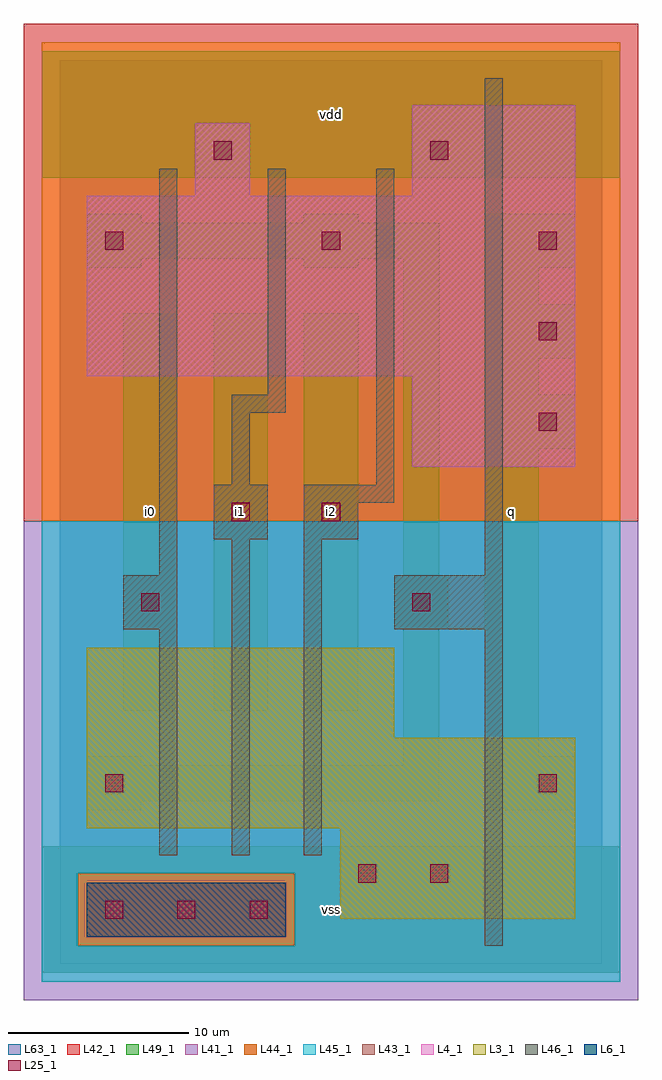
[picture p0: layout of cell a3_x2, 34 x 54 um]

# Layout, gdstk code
import gdstk
lib = gdstk.Library(unit=1e-6, precision=1e-09)
def R(c, l, rs):  # rectangles x0, y0, x1, y1
    for r in rs: c.add(gdstk.rectangle(r[:2], r[2:], *l))
def A(c, l, x, y, w, h, nx, ny, dx, dy):  # array of equal rectangles
    R(c, l, [(x+i*dx, y+j*dy, x+i*dx+w, y+j*dy+h) for i in range(nx) for j in range(ny)])
L3_1 = (3, 1)
L4_1 = (4, 1)
L6_1 = (6, 1)
L25_1 = (25, 1)
L41_1 = (41, 1)
L42_1 = (42, 1)
L43_1 = (43, 1)
L44_1 = (44, 1)
L45_1 = (45, 1)
L46_1 = (46, 1)
L49_1 = (49, 1)
L63_1 = (63, 1)

a3_x2 = lib.new_cell('a3_x2')
R(a3_x2, L3_1, [(15.5,2.5,28.5,7.5), (1.5,7.5,28.5,12.5), (1.5,12.5,18.5,17.5)])
R(a3_x2, L4_1, [(19.5,27.5,28.5,32.5), (1.5,32.5,28.5,42.5), (7.5,42.5,10.5,46.5), (19.5,42.5,28.5,47.5)])
R(a3_x2, L6_1, [(1.5,1.5,12.5,4.5)])
A(a3_x2, L25_1, 2.5, 2.5, 1, 1, 3, 1, 4, 0)
A(a3_x2, L25_1, 2.5, 39.5, 1, 1, 3, 1, 12, 0)
R(a3_x2, L25_1, [(16.5,4.5,17.5,5.5), (20.5,4.5,21.5,5.5), (2.5,9.5,3.5,10.5), (26.5,9.5,27.5,10.5), (4.5,19.5,5.5,20.5), (19.5,19.5,20.5,20.5), (9.5,24.5,10.5,25.5), (14.5,24.5,15.5,25.5), (26.5,29.5,27.5,30.5), (26.5,34.5,27.5,35.5), (8.5,44.5,9.5,45.5), (20.5,44.5,21.5,45.5)])
R(a3_x2, L41_1, [(-2,-2,32,24.5)])
R(a3_x2, L42_1, [(-2,24.5,32,52)])
R(a3_x2, L43_1, [(1.5,1.5,12.5,4.5), (15.5,2.5,28.5,7.5), (1.5,7.5,28.5,12.5), (1.5,12.5,18.5,17.5), (19.5,27.5,28.5,32.5), (1.5,32.5,28.5,42.5), (7.5,42.5,10.5,46.5), (19.5,42.5,28.5,47.5)])
R(a3_x2, L44_1, [(1,1,13,5), (-1,24.5,31,51)])
R(a3_x2, L45_1, [(-1,-1,31,1), (-1,1,1,5), (13,1,31,5), (-1,5,31,24.5)])
R(a3_x2, L46_1, [(23.5,1,24.5,18.5), (5.5,6,6.5,18.5), (9.5,6,10.5,23.5), (13.5,6,14.5,23.5), (3.5,18.5,6.5,21.5), (18.5,18.5,24.5,21.5), (5.5,21.5,6.5,44), (23.5,21.5,24.5,49), (8.5,23.5,11.5,26.5), (13.5,23.5,16.5,25.5), (13.5,25.5,18.5,26.5), (9.5,26.5,10.5,30.5), (17.5,26.5,18.5,44), (9.5,30.5,12.5,31.5), (11.5,31.5,12.5,44)])
A(a3_x2, L49_1, 3.5, 14, 3, 22, 3, 1, 5, 0)
A(a3_x2, L49_1, 23.5, 28.5, 5, 3, 1, 3, 0, 5)
R(a3_x2, L49_1, [(-1,-0.5,31,6.5), (1.5,8.5,4.5,9), (23.5,8.5,28.5,11.5), (1.5,9,21,11), (1.5,11,4.5,11.5), (19,11,21,18.5), (23.5,11.5,26.5,28.5), (18.5,18.5,21.5,21.5), (19,21.5,21,39), (23.5,31.5,26.5,33.5), (23.5,36.5,26.5,38.5), (1.5,38.5,4.5,39), (13.5,38.5,16.5,39), (1.5,39,21,41), (1.5,41,4.5,41.5), (13.5,41,16.5,41.5), (-1,43.5,31,50.5)])
R(a3_x2, L63_1, [(0,0,30,50)])
a3_x2.add(gdstk.Label('i0', (5,25), layer=49, texttype=1))
a3_x2.add(gdstk.Label('i0', (5,25), layer=49, texttype=1))
a3_x2.add(gdstk.Label('i1', (10,25), layer=49, texttype=1))
a3_x2.add(gdstk.Label('i1', (10,25), layer=49, texttype=1))
a3_x2.add(gdstk.Label('vss', (15,3), layer=49, texttype=1))
a3_x2.add(gdstk.Label('vss', (15,3), layer=49, texttype=1))
a3_x2.add(gdstk.Label('i2', (15,25), layer=49, texttype=1))
a3_x2.add(gdstk.Label('i2', (15,25), layer=49, texttype=1))
a3_x2.add(gdstk.Label('vdd', (15,47), layer=49, texttype=1))
a3_x2.add(gdstk.Label('vdd', (15,47), layer=49, texttype=1))
a3_x2.add(gdstk.Label('q', (25,25), layer=49, texttype=1))
a3_x2.add(gdstk.Label('q', (25,25), layer=49, texttype=1))

lib.write_gds('a3_x2.gds')
